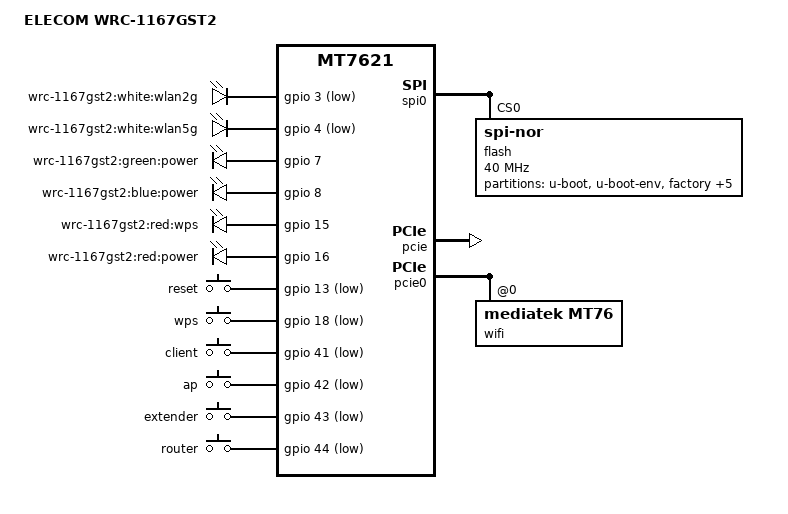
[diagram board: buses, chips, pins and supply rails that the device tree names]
// SPDX-License-Identifier: GPL-2.0-or-later OR MIT
/dts-v1/;

#include "mt7621.dtsi"

#include <dt-bindings/gpio/gpio.h>
#include <dt-bindings/input/input.h>

/ {
	compatible = "elecom,wrc-1167gst2", "mediatek,mt7621-soc";
	model = "ELECOM WRC-1167GST2";

	aliases {
		led-boot = &led_power_green;
		led-failsafe = &led_power_green;
		led-running = &led_power_green;
		led-upgrade = &led_power_green;
		label-mac-device = &wan;
	};

	chosen {
		bootargs = "console=ttyS0,57600";
	};

	leds {
		compatible = "gpio-leds";

		wlan2g {
			label = "wrc-1167gst2:white:wlan2g";
			gpios = <&gpio 3 GPIO_ACTIVE_LOW>;
		};

		wlan5g {
			label = "wrc-1167gst2:white:wlan5g";
			gpios = <&gpio 4 GPIO_ACTIVE_LOW>;
		};

		led_power_green: power_green {
			label = "wrc-1167gst2:green:power";
			gpios = <&gpio 7 GPIO_ACTIVE_HIGH>;
		};

		power_blue {
			label = "wrc-1167gst2:blue:power";
			gpios = <&gpio 8 GPIO_ACTIVE_HIGH>;
		};

		wps {
			label = "wrc-1167gst2:red:wps";
			gpios = <&gpio 15 GPIO_ACTIVE_HIGH>;
		};

		power_red {
			label = "wrc-1167gst2:red:power";
			gpios = <&gpio 16 GPIO_ACTIVE_HIGH>;
		};
	};

	keys {
		compatible = "gpio-keys";

		reset {
			label = "reset";
			gpios = <&gpio 13 GPIO_ACTIVE_LOW>;
			linux,code = <KEY_RESTART>;
		};

		wps {
			label = "wps";
			gpios = <&gpio 18 GPIO_ACTIVE_LOW>;
			linux,code = <KEY_WPS_BUTTON>;
		};

		client {
			label = "client";
			gpios = <&gpio 41 GPIO_ACTIVE_LOW>;
			linux,code = <BTN_0>;
			linux,input-type = <EV_SW>;
		};

		ap {
			label = "ap";
			gpios = <&gpio 42 GPIO_ACTIVE_LOW>;
			linux,code = <BTN_0>;
			linux,input-type = <EV_SW>;
		};

		extender {
			label = "extender";
			gpios = <&gpio 43 GPIO_ACTIVE_LOW>;
			linux,code = <BTN_0>;
			linux,input-type = <EV_SW>;
		};

		router {
			label = "router";
			gpios = <&gpio 44 GPIO_ACTIVE_LOW>;
			linux,code = <BTN_0>;
			linux,input-type = <EV_SW>;
		};
	};
};

&gmac0 {
	mtd-mac-address = <&factory 0xe000>;
};

&switch0 {
	ports {
		wan: port@0 {
			status = "okay";
			label = "wan";
			mtd-mac-address = <&factory 0xe006>;
		};

		port@1 {
			status = "okay";
			label = "lan4";
		};

		port@2 {
			status = "okay";
			label = "lan3";
		};

		port@3 {
			status = "okay";
			label = "lan2";
		};

		port@4 {
			status = "okay";
			label = "lan1";
		};
	};
};

&spi0 {
	status = "okay";

	flash@0 {
		compatible = "jedec,spi-nor";
		reg = <0>;
		spi-max-frequency = <40000000>;

		partitions {
			compatible = "fixed-partitions";
			#address-cells = <1>;
			#size-cells = <1>;

			partition@0 {
				label = "u-boot";
				reg = <0x0 0x30000>;
				read-only;
			};

			partition@30000 {
				label = "u-boot-env";
				reg = <0x30000 0x10000>;
				read-only;
			};

			factory: partition@40000 {
				label = "factory";
				reg = <0x40000 0x10000>;
				read-only;
			};

			partition@50000 {
				compatible = "denx,uimage";
				label = "firmware";
				reg = <0x50000 0x1800000>;
			};

			partition@1850000 {
				label = "tm_pattern";
				reg = <0x1850000 0x400000>;
				read-only;
			};

			partition@1c50000 {
				label = "tm_key";
				reg = <0x1c50000 0x100000>;
				read-only;
			};

			partition@1d50000 {
				label = "nvram";
				reg = <0x1d50000 0xb0000>;
				read-only;
			};

			partition@1e00000 {
				label = "user_data";
				reg = <0x1e00000 0x200000>;
				read-only;
			};
		};
	};
};

&pcie {
	status = "okay";
};

&pcie0 {
	wifi@0,0 {
		compatible = "mediatek,mt76";
		reg = <0x0000 0 0 0 0>;
		mediatek,mtd-eeprom = <&factory 0x0>;
		mtd-mac-address = <&factory 0xe000>;
		mtd-mac-address-increment = <1>;
	};
};

&state_default {
	gpio {
		groups = "i2c", "uart3", "jtag", "wdt", "sdhci";
		function = "gpio";
	};
};

&xhci {
	status = "disabled";
};
